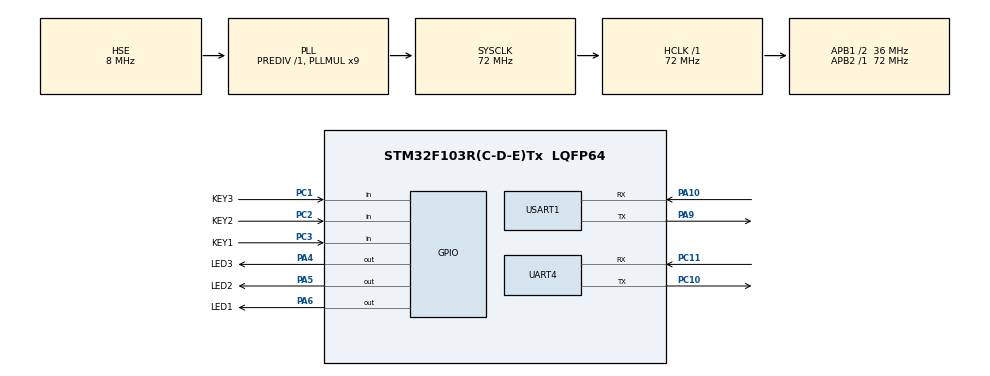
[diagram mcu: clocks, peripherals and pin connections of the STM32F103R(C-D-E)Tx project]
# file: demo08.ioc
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Dma.Request0=USART1_TX
Dma.Request1=USART1_RX
Dma.Request2=UART4_RX
Dma.Request3=UART4_TX
Dma.UART4_RX.2.Direction=DMA_PERIPH_TO_MEMORY
Dma.UART4_RX.2.Instance=DMA2_Channel3
Dma.UART4_RX.2.MemDataAlignment=DMA_MDATAALIGN_BYTE
Dma.UART4_RX.2.MemInc=DMA_MINC_ENABLE
Dma.UART4_RX.2.Mode=DMA_NORMAL
Dma.UART4_RX.2.PeriphDataAlignment=DMA_PDATAALIGN_BYTE
Dma.UART4_RX.2.PeriphInc=DMA_PINC_DISABLE
Dma.UART4_RX.2.Priority=DMA_PRIORITY_LOW
Dma.UART4_TX.3.Direction=DMA_MEMORY_TO_PERIPH
Dma.UART4_TX.3.Instance=DMA2_Channel5
Dma.UART4_TX.3.MemDataAlignment=DMA_MDATAALIGN_BYTE
Dma.UART4_TX.3.MemInc=DMA_MINC_ENABLE
Dma.UART4_TX.3.Mode=DMA_NORMAL
Dma.UART4_TX.3.PeriphDataAlignment=DMA_PDATAALIGN_BYTE
Dma.UART4_TX.3.PeriphInc=DMA_PINC_DISABLE
Dma.UART4_TX.3.Priority=DMA_PRIORITY_LOW
Dma.USART1_RX.1.Direction=DMA_PERIPH_TO_MEMORY
Dma.USART1_RX.1.Instance=DMA1_Channel5
Dma.USART1_RX.1.MemDataAlignment=DMA_MDATAALIGN_BYTE
Dma.USART1_RX.1.MemInc=DMA_MINC_ENABLE
Dma.USART1_RX.1.Mode=DMA_CIRCULAR
Dma.USART1_RX.1.PeriphDataAlignment=DMA_PDATAALIGN_BYTE
Dma.USART1_RX.1.PeriphInc=DMA_PINC_DISABLE
Dma.USART1_RX.1.Priority=DMA_PRIORITY_LOW
Dma.USART1_TX.0.Direction=DMA_MEMORY_TO_PERIPH
Dma.USART1_TX.0.Instance=DMA1_Channel4
Dma.USART1_TX.0.MemDataAlignment=DMA_MDATAALIGN_BYTE
Dma.USART1_TX.0.MemInc=DMA_MINC_ENABLE
Dma.USART1_TX.0.Mode=DMA_NORMAL
Dma.USART1_TX.0.PeriphDataAlignment=DMA_PDATAALIGN_BYTE
Dma.USART1_TX.0.PeriphInc=DMA_PINC_DISABLE
Dma.USART1_TX.0.Priority=DMA_PRIORITY_LOW
Mcu.Family=STM32F1
Mcu.Name=STM32F103R(C-D-E)Tx
Mcu.Package=LQFP64
NVIC.DMA1_Channel4_IRQn=true\:0\:0\:false\:false\:true\:false\:true
NVIC.DMA1_Channel5_IRQn=true\:0\:0\:false\:false\:true\:false\:true
NVIC.DMA2_Channel3_IRQn=true\:0\:0\:false\:false\:true\:false\:true
NVIC.DMA2_Channel4_5_IRQn=true\:0\:0\:false\:false\:true\:false\:true
NVIC.PriorityGroup=NVIC_PRIORITYGROUP_4
NVIC.TIM6_IRQn=true\:0\:0\:false\:false\:true\:true\:true
NVIC.UART4_IRQn=true\:0\:0\:false\:false\:true\:true\:true
NVIC.USART1_IRQn=true\:0\:0\:false\:false\:true\:true\:true
PA10.Mode=Asynchronous
PA10.Signal=USART1_RX
PA13.Mode=Serial_Wire
PA13.Signal=SYS_JTMS-SWDIO
PA14.Mode=Serial_Wire
PA14.Signal=SYS_JTCK-SWCLK
PA4.GPIO_Label=LED3
PA4.PinState=GPIO_PIN_SET
PA4.Signal=GPIO_Output
PA5.GPIO_Label=LED2
PA5.PinState=GPIO_PIN_SET
PA5.Signal=GPIO_Output
PA6.GPIO_Label=LED1
PA6.PinState=GPIO_PIN_SET
PA6.Signal=GPIO_Output
PA9.Mode=Asynchronous
PA9.Signal=USART1_TX
PC1.GPIO_Label=KEY3
PC1.Signal=GPIO_Input
PC10.Mode=Asynchronous
PC10.Signal=UART4_TX
PC11.Mode=Asynchronous
PC11.Signal=UART4_RX
PC2.GPIO_Label=KEY2
PC2.Signal=GPIO_Input
PC3.GPIO_Label=KEY1
PC3.Signal=GPIO_Input
PD0-OSC_IN.Mode=HSE-External-Oscillator
PD0-OSC_IN.Signal=RCC_OSC_IN
PD1-OSC_OUT.Mode=HSE-External-Oscillator
PD1-OSC_OUT.Signal=RCC_OSC_OUT
ProjectManager.HeapSize=0x1000
ProjectManager.StackSize=0x400
ProjectManager.TargetToolchain=MDK-ARM V5.32
RCC.AHBFreq_Value=72000000
RCC.APB1CLKDivider=RCC_HCLK_DIV2
RCC.APB1Freq_Value=36000000
RCC.APB1TimFreq_Value=72000000
RCC.APB2Freq_Value=72000000
RCC.APB2TimFreq_Value=72000000
RCC.HCLKFreq_Value=72000000
RCC.PLLMUL=RCC_PLL_MUL9
RCC.PLLSourceVirtual=RCC_PLLSOURCE_HSE
RCC.SYSCLKFreq_VALUE=72000000
RCC.SYSCLKSource=RCC_SYSCLKSOURCE_PLLCLK
RCC.USBFreq_Value=72000000
TIM6.AutoReloadPreload=TIM_AUTORELOAD_PRELOAD_ENABLE
TIM6.Period=10-1
TIM6.Prescaler=7200-1
UART4.VirtualMode=Asynchronous
USART1.VirtualMode=VM_ASYNC
VP_TIM6_VS_ClockSourceINT.Mode=Enable_Timer
board=custom

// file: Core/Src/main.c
/* USER CODE BEGIN Header */
/**
  ******************************************************************************
  * @file           : main.c
  * @brief          : Main program body
  ******************************************************************************
  * @attention
  *
  * Copyright (c) 2025 STMicroelectronics.
  * All rights reserved.
  *
  * This software is licensed under terms that can be found in the LICENSE file
  * in the root directory of this software component.
  * If no LICENSE file comes with this software, it is provided AS-IS.
  *
  ******************************************************************************
  */
/* USER CODE END Header */
#include "main.h"
#include "dma.h"
#include "tim.h"
#include "usart.h"
#include "gpio.h"

/* USER CODE BEGIN Includes */
#include <stdio.h>
#include <stdbool.h>
#include <string.h>
#include <stdlib.h>
#include "cJSON.h"
#include "led_control.h"
#include "key_handler.h"
#include "esp8266_driver.h"
#include "cloud_interface.h"
#include "usart_driver.h"
#include "timer_handler.h"
/* USER CODE END Includes */

/* USER CODE BEGIN PD */
#define TIME_AFTER(now,old,interval) ((uint32_t)((now)-(old)) >= (interval))
#define RXBUF_SIZE 256
/* USER CODE END PD */

/* USER CODE BEGIN PV */
#define UART_TIMEOUT_MS 5000  // 5秒超时
#define cJSON_DISABLE_FLOAT //禁用浮点（节省空间）
uint8_t rx_buf[RXBUF_SIZE];
uint8_t rx4_buf[RXBUF_SIZE];
uint8_t uart4_wifi_dma_rx_buf[RXBUF_SIZE];
bool wifi_rx_state = false;

extern DMA_HandleTypeDef hdma_usart1_rx;
extern DMA_HandleTypeDef hdma_uart4_rx;
/* USER CODE END PV */

void SystemClock_Config(void);

int main(void)
{

  /* MCU Configuration--------------------------------------------------------*/

  /* Reset of all peripherals, Initializes the Flash interface and the Systick. */
  HAL_Init();

  /* Configure the system clock */
  SystemClock_Config();

  /* Initialize all configured peripherals */
  MX_GPIO_Init();
  MX_DMA_Init();
  MX_USART1_UART_Init();
  MX_TIM6_Init();
  MX_UART4_Init();
  /* USER CODE BEGIN 2 */
  led_init();
  key_init();
	HAL_TIM_Base_Start_IT(&htim6);
  __HAL_UART_ENABLE_IT(&huart1,UART_IT_IDLE);
  HAL_UART_Receive_DMA(&huart1,rx_buf,sizeof(rx_buf));
  __HAL_UART_ENABLE_IT(&huart4,UART_IT_IDLE);
  HAL_UART_Receive_DMA(&huart4,rx4_buf,sizeof(rx4_buf));
  esp8266_init();
  /* USER CODE END 2 */

  /* Infinite loop */
  /* USER CODE BEGIN WHILE */
  while (1)
  {
    key_press_handler();

    // 检查并定时上报状态
    check_and_report_status();

    if (TIME_AFTER(system_tick, last_uart_rx_time, UART_TIMEOUT_MS)) {
      // 停止当前DMA接收
      HAL_UART_DMAStop(&huart1);
      // 重启DMA接收
      HAL_UART_Receive_DMA(&huart1, rx_buf, sizeof(rx_buf));
      // 更新上次接收时间
      last_uart_rx_time = system_tick;
    }
    /* USER CODE END WHILE */

  }
}

void SystemClock_Config(void)
{
  RCC_OscInitTypeDef RCC_OscInitStruct = {0};
  RCC_ClkInitTypeDef RCC_ClkInitStruct = {0};

  /** Initializes the RCC Oscillators according to the specified parameters
  * in the RCC_OscInitTypeDef structure.
  */
  RCC_OscInitStruct.OscillatorType = RCC_OSCILLATORTYPE_HSE;
  RCC_OscInitStruct.HSEState = RCC_HSE_ON;
  RCC_OscInitStruct.HSEPredivValue = RCC_HSE_PREDIV_DIV1;
  RCC_OscInitStruct.HSIState = RCC_HSI_ON;
  RCC_OscInitStruct.PLL.PLLState = RCC_PLL_ON;
  RCC_OscInitStruct.PLL.PLLSource = RCC_PLLSOURCE_HSE;
  RCC_OscInitStruct.PLL.PLLMUL = RCC_PLL_MUL9;
  if (HAL_RCC_OscConfig(&RCC_OscInitStruct) != HAL_OK)
  {
    Error_Handler();
  }
  /** Initializes the CPU, AHB and APB buses clocks
  */
  RCC_ClkInitStruct.ClockType = RCC_CLOCKTYPE_HCLK|RCC_CLOCKTYPE_SYSCLK
                              |RCC_CLOCKTYPE_PCLK1|RCC_CLOCKTYPE_PCLK2;
  RCC_ClkInitStruct.SYSCLKSource = RCC_SYSCLKSOURCE_PLLCLK;
  RCC_ClkInitStruct.AHBCLKDivider = RCC_SYSCLK_DIV1;
  RCC_ClkInitStruct.APB1CLKDivider = RCC_HCLK_DIV2;
  RCC_ClkInitStruct.APB2CLKDivider = RCC_HCLK_DIV1;

  if (HAL_RCC_ClockConfig(&RCC_ClkInitStruct, FLASH_LATENCY_2) != HAL_OK)
  {
    Error_Handler();
  }
}

void Error_Handler(void)
{
  __disable_irq();
  while (1)
  {
  }
}
